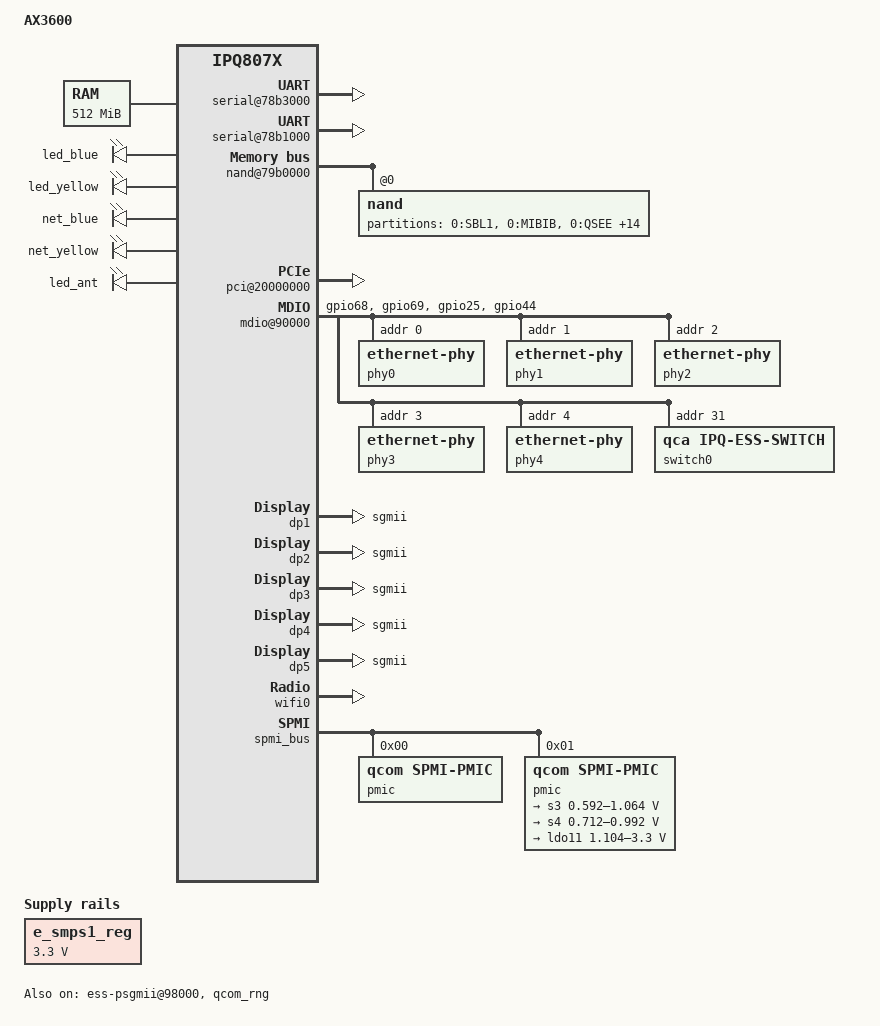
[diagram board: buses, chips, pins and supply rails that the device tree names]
// SPDX-License-Identifier: GPL-2.0-only
/dts-v1/;
/* Copyright (c) 2017, The Linux Foundation. All rights reserved.
 */
#include "ipq8074.dtsi"
#include <dt-bindings/iio/qcom,spmi-vadc.h>
#include <dt-bindings/spmi/spmi.h>

/ {
	#address-cells = <0x2>;
	#size-cells = <0x2>;
	model = "AX3600";
	compatible = "qcom,ipq807x-ac04", "qcom,ipq807x";
	interrupt-parent = <&intc>;

	firmware {
		scm {
			compatible = "qcom,scm-ipq8074", "qcom,scm";
		};
	};

	aliases {
		serial0 = &blsp1_uart5;
		serial1 = &blsp1_uart3;
	};

	chosen {
		stdout-path = "serial0";
	};

	memory {
		device_type = "memory";
		reg = <0x0 0x40000000 0x0 0x20000000>;
	};
	
	tcsr_mutex: hwlock {
		compatible = "qcom,tcsr-mutex";
		syscon = <&tcsr_mutex_regs 0 0x80>;
		#hwlock-cells = <1>;
	};

	tcsr_mutex: hwlock {
		compatible = "qcom,tcsr-mutex";
		syscon = <&tcsr_mutex_regs 0 0x80>;
		#hwlock-cells = <1>;
	};

	reserved-memory {
		#address-cells = <2>;
		#size-cells = <2>;
		ranges;
#if 0
		nss@40000000 {
			no-map;
			reg = <0x0 0x40000000 0x0 0x01000000>;
		};

		uboot@4a600000 {
			no-map;
			reg = <0x0 0x4a600000 0x0 0x00400000>;
		};

		sbl@4aa00000 {
			no-map;
			reg = <0x0 0x4aa00000 0x0 0x00100000>;
		};

		tz@4ac00000 {   /* TZ */
			no-map;
			reg = <0x0 0x4ac00000 0x0 0x00400000>;
		};
#endif
		smem_region:smem@4ab00000 {
			no-map;
			reg = <0x0 0x4ab00000 0x0 0x00100000>;
		};

		q6_region: wcnss@4b000000 {
			no-map;
			reg = <0x0 0x4b000000 0x0 0x05f00000>;
		};
#if 0
		q6_etr_region:q6_etr_dump@4e700000 {
			no-map;
			reg = <0x0 0x4e700000 0x0 0x100000>;
		};

		wifi_dump@50500000 {
			no-map;
			reg = <0x0 0x50500000 0x0 0x200000>;
		};
#endif
	};
        
	smem {
		compatible = "qcom,smem";
		memory-region = <&smem_region>;
		hwlocks = <&tcsr_mutex 0>;
	};

	soc {
		pinctrl@1000000 {
			led_pins: led_pins {
				pins = "gpio42", "gpio43", "gpio21",
				       "gpio22", "gpio51";
				function = "gpio";
				drive-strength = <8>;
				bias-pull-down;
			};
			mdio_pins: mdio_pinmux {
				mux_0 {
					pins = "gpio68";
					function = "mdc";
					drive-strength = <8>;
					bias-pull-up;
				};
				mux_1 {
					pins = "gpio69";
					function = "mdio";
					drive-strength = <8>;
					bias-pull-up;
				};
				mux_2 {
					pins = "gpio25";
					function = "gpio";
					bias-pull-up;
				};
				mux_3 {
					pins = "gpio44";
					function = "gpio";
					bias-pull-up;
				};
			};
			
			pcie_pins {
				pcie0_rst {
					pins = "gpio52";
					function = "pcie0_rst";
					drive-strength = <0x8>;
					bias-pull-down;
				};

				pcie0_wake {
					pins = "gpio59";
					function = "pcie0_wake";
					drive-strength = <0x8>;
					bias-pull-down;
				};
			};
		};


		serial@78b3000 {
			status = "ok";
		};

		serial@78b1000 {
			 status = "ok";
		};

		dma@7984000 {
			 status = "ok";
		};

		nand@79b0000 {
			status = "ok";

			nand@0 {
				reg = <0>;
				nand-ecc-strength = <4>;
				nand-ecc-step-size = <512>;
				nand-bus-width = <8>;
				
				partitions {
					compatible = "fixed-partitions";
					#address-cells = <1>;
					#size-cells = <1>;
					
					partition0@0 {
						label = "0:SBL1";
						reg = <0x0 0x100000>;
						read-only;
					};

					partition1@100000 {
						label = "0:MIBIB";
						reg = <0x100000 0x100000>;
						read-only;
					};

					partition2@200000 {
						label = "0:QSEE";
						reg = <0x200000 0x300000>;
						read-only;
					};

					partition3@500000 {
						label = "0:DEVCFG";
						reg = <0x500000 0x80000>;
						read-only;
					};


					partition4@580000 {
						label = "0:RPM";
						reg = <0x580000 0x80000>;
						read-only;
					};

					partition5@600000 {
						label = "0:CDT";
						reg = <0x600000 0x80000>;
						read-only;
					};


					partition6@680000 {
						label = "0:APPSBLENV";
						reg = <0x680000 0x80000>;
						read-only;
					};

					partition7@700000 {
						label = "0:APPSBL";
						reg = <0x700000 0x100000>;
						read-only;
					};

					partition8@800000 {
						label = "0:ART";
						reg = <0x800000 0x80000>;
						read-only;
					};

					partition9@880000 {
						label = "bdata";
						reg = <0x880000 0x80000>;
						read-only;
					};

					partition10@900000 {
						label = "crash";
						reg = <0x900000 0x80000>;
						read-only;
					};

					partition11@980000 {
						label = "crash_syslog";
						reg = <0x980000 0x80000>;
						read-only;
					};

					partition12@a00000 {
						label = "rootfs";
						reg = <0xa00000 0x23c0000>;
					};

					partition13@2dc0000 {
						label = "rootfs_1";
						reg = <0x2dc0000 0x8000000>;
					};


					partition14@adc0000 {
						label = "overlay";
						reg = <0xadc0000 0x1ec0000>;
					};

					partition15@cc80000 {
						label = "rsvd0";
						reg = <0xcc80000 0x80000>;
						read-only;
					};

					partition16@cd00000 {
						label = "0:WIFIFW";
						reg = <0xcd00000 0x900000>;
						read-only;
					};
				};
			};
		};

		phy@84000 {
			status = "ok";
		};

		pci@20000000 {
			status = "ok";
			perst-gpio = <&tlmm 52 0x1>;
		};

		mdio@90000 {
			pinctrl-0 = <&mdio_pins>;
			pinctrl-names = "default";
			phy-reset-gpio = <&tlmm 37 0>;
			#address-cells = <1>;
			#size-cells = <1>;
			compatible = "qcom,ipq40xx-mdio";
			reg = <0x90000 0x64>;

			phy0: ethernet-phy@0 {
				reg = <0>;
			};
			phy1: ethernet-phy@1 {
				reg = <1>;
			};
			phy2: ethernet-phy@2 {
				reg = <2>;
			};
			phy3: ethernet-phy@3 {
				reg = <3>;
			};
			phy4: ethernet-phy@4 {
				reg = <4>;
			};
			switch0@1f {
                compatible = "qca,ipq-ess-switch";
                reg = <0x1f>;
				switch = <&qcom_ess_switch>;
			};
		};

		qcom_ess_switch:ess-switch@3a000000 {
			compatible = "qcom,ess-switch-ipq807x";
			reg = <0x3a000000 0x80000>;
			switch_access_mode = "local bus";
			switch_cpu_bmp = <0x1>;  /* cpu port bitmap */
			switch_lan_bmp = <0x1e>; /* lan port bitmap */
			switch_wan_bmp = <0x20>; /* wan port bitmap */
			switch_mac_mode = <0x0>; /* mac mode for uniphy instance0*/
			switch_mac_mode1 = <0xff>; /* mac mode for uniphy instance1*/
			switch_mac_mode2 = <0xff>; /* mac mode for uniphy instance2*/
			bm_tick_mode = <0>; /* bm tick mode */
			tm_tick_mode = <0>; /* tm tick mode */

			clocks = <&gcc GCC_CMN_12GPLL_AHB_CLK>,
					<&gcc GCC_CMN_12GPLL_SYS_CLK>,
					<&gcc GCC_UNIPHY0_AHB_CLK>,
					<&gcc GCC_UNIPHY0_SYS_CLK>,
					<&gcc GCC_UNIPHY1_AHB_CLK>,
					<&gcc GCC_UNIPHY1_SYS_CLK>,
					<&gcc GCC_UNIPHY2_AHB_CLK>,
					<&gcc GCC_UNIPHY2_SYS_CLK>,
					<&gcc GCC_PORT1_MAC_CLK>,
					<&gcc GCC_PORT2_MAC_CLK>,
					<&gcc GCC_PORT3_MAC_CLK>,
					<&gcc GCC_PORT4_MAC_CLK>,
					<&gcc GCC_PORT5_MAC_CLK>,
					<&gcc GCC_PORT6_MAC_CLK>,
					<&gcc GCC_NSS_PPE_CLK>,
					<&gcc GCC_NSS_PPE_CFG_CLK>,
					<&gcc GCC_NSSNOC_PPE_CLK>,
					<&gcc GCC_NSSNOC_PPE_CFG_CLK>,
					<&gcc GCC_NSS_EDMA_CLK>,
					<&gcc GCC_NSS_EDMA_CFG_CLK>,
					<&gcc GCC_NSS_PPE_IPE_CLK>,
					<&gcc GCC_NSS_PPE_BTQ_CLK>,
					<&gcc GCC_MDIO_AHB_CLK>,
					<&gcc GCC_NSS_NOC_CLK>,
					<&gcc GCC_NSSNOC_SNOC_CLK>,
					<&gcc GCC_MEM_NOC_NSS_AXI_CLK>,
					<&gcc GCC_NSS_CRYPTO_CLK>,
					<&gcc GCC_NSS_IMEM_CLK>,
					<&gcc GCC_NSS_PTP_REF_CLK>,
					<&gcc GCC_NSS_PORT1_RX_CLK>,
					<&gcc GCC_NSS_PORT1_TX_CLK>,
					<&gcc GCC_NSS_PORT2_RX_CLK>,
					<&gcc GCC_NSS_PORT2_TX_CLK>,
					<&gcc GCC_NSS_PORT3_RX_CLK>,
					<&gcc GCC_NSS_PORT3_TX_CLK>,
					<&gcc GCC_NSS_PORT4_RX_CLK>,
					<&gcc GCC_NSS_PORT4_TX_CLK>,
					<&gcc GCC_NSS_PORT5_RX_CLK>,
					<&gcc GCC_NSS_PORT5_TX_CLK>,
					<&gcc GCC_NSS_PORT6_RX_CLK>,
					<&gcc GCC_NSS_PORT6_TX_CLK>,
					<&gcc GCC_UNIPHY0_PORT1_RX_CLK>,
					<&gcc GCC_UNIPHY0_PORT1_TX_CLK>,
					<&gcc GCC_UNIPHY0_PORT2_RX_CLK>,
					<&gcc GCC_UNIPHY0_PORT2_TX_CLK>,
					<&gcc GCC_UNIPHY0_PORT3_RX_CLK>,
					<&gcc GCC_UNIPHY0_PORT3_TX_CLK>,
					<&gcc GCC_UNIPHY0_PORT4_RX_CLK>,
					<&gcc GCC_UNIPHY0_PORT4_TX_CLK>,
					<&gcc GCC_UNIPHY0_PORT5_RX_CLK>,
					<&gcc GCC_UNIPHY0_PORT5_TX_CLK>,
					<&gcc GCC_UNIPHY1_PORT5_RX_CLK>,
					<&gcc GCC_UNIPHY1_PORT5_TX_CLK>,
					<&gcc GCC_UNIPHY2_PORT6_RX_CLK>,
					<&gcc GCC_UNIPHY2_PORT6_TX_CLK>,
					<&gcc NSS_PORT5_RX_CLK_SRC>,
					<&gcc NSS_PORT5_TX_CLK_SRC>;
			clock-names = "cmn_ahb_clk", "cmn_sys_clk",
					"uniphy0_ahb_clk", "uniphy0_sys_clk",
					"uniphy1_ahb_clk", "uniphy1_sys_clk",
					"uniphy2_ahb_clk", "uniphy2_sys_clk",
					"port1_mac_clk", "port2_mac_clk",
					"port3_mac_clk", "port4_mac_clk",
					"port5_mac_clk", "port6_mac_clk",
					"nss_ppe_clk", "nss_ppe_cfg_clk",
					"nssnoc_ppe_clk", "nssnoc_ppe_cfg_clk",
					"nss_edma_clk", "nss_edma_cfg_clk",
					"nss_ppe_ipe_clk", "nss_ppe_btq_clk",
					"gcc_mdio_ahb_clk", "gcc_nss_noc_clk",
					"gcc_nssnoc_snoc_clk",
					"gcc_mem_noc_nss_axi_clk",
					"gcc_nss_crypto_clk",
					"gcc_nss_imem_clk",
					"gcc_nss_ptp_ref_clk",
					"nss_port1_rx_clk", "nss_port1_tx_clk",
					"nss_port2_rx_clk", "nss_port2_tx_clk",
					"nss_port3_rx_clk", "nss_port3_tx_clk",
					"nss_port4_rx_clk", "nss_port4_tx_clk",
					"nss_port5_rx_clk", "nss_port5_tx_clk",
					"nss_port6_rx_clk", "nss_port6_tx_clk",
					"uniphy0_port1_rx_clk",
					"uniphy0_port1_tx_clk",
					"uniphy0_port2_rx_clk",
					"uniphy0_port2_tx_clk",
					"uniphy0_port3_rx_clk",
					"uniphy0_port3_tx_clk",
					"uniphy0_port4_rx_clk",
					"uniphy0_port4_tx_clk",
					"uniphy0_port5_rx_clk",
					"uniphy0_port5_tx_clk",
					"uniphy1_port5_rx_clk",
					"uniphy1_port5_tx_clk",
					"uniphy2_port6_rx_clk",
					"uniphy2_port6_tx_clk",
					"nss_port5_rx_clk_src",
					"nss_port5_tx_clk_src";

			resets = <&gcc GCC_PPE_FULL_RESET>, <&gcc GCC_PPE_FULL_RESET>,
				 <&gcc GCC_UNIPHY0_SOFT_RESET>,
				 <&gcc GCC_UNIPHY0_XPCS_RESET>,
				 <&gcc GCC_UNIPHY1_SOFT_RESET>,
				 <&gcc GCC_UNIPHY1_XPCS_RESET>,
				 <&gcc GCC_UNIPHY2_SOFT_RESET>,
				 <&gcc GCC_UNIPHY2_XPCS_RESET>,
				 <&gcc GCC_NSSPORT1_RESET>,
				 <&gcc GCC_NSSPORT2_RESET>,
				 <&gcc GCC_NSSPORT3_RESET>,
				 <&gcc GCC_NSSPORT4_RESET>,
				 <&gcc GCC_NSSPORT5_RESET>,
				 <&gcc GCC_NSSPORT6_RESET>;

			reset-names = "ess_rst", "ppe_rst", "uniphy0_soft_rst",
					"uniphy0_xpcs_rst", "uniphy1_soft_rst",
					"uniphy1_xpcs_rst", "uniphy2_soft_rst",
					"uniphy2_xpcs_rst", "nss_port1_rst",
					"nss_port2_rst", "nss_port3_rst",
					"nss_port4_rst", "nss_port5_rst",
					"nss_port6_rst";

			qcom,port_phyinfo {
				port@0 {
					port_id = <1>;
					phy_address = <0>;
				};
				port@1 {
					port_id = <2>;
					phy_address = <1>;
				};
				port@2 {
					port_id = <3>;
					phy_address = <2>;
				};
				port@3 {
					port_id = <4>;
					phy_address = <3>;
				};
				port@4 {
					port_id = <5>;
					phy_address = <4>;
				};
			};

			port_scheduler_resource {
				port@0 {
					port_id = <0>;
					ucast_queue = <0 143>;
					mcast_queue = <256 271>;
					l0sp = <0 35>;
					l0cdrr = <0 47>;
					l0edrr = <0 47>;
					l1cdrr = <0 7>;
					l1edrr = <0 7>;
				};
				port@1 {
					port_id = <1>;
					ucast_queue = <144 159>;
					mcast_queue = <272 275>;
					l0sp = <36 39>;
					l0cdrr = <48 63>;
					l0edrr = <48 63>;
					l1cdrr = <8 11>;
					l1edrr = <8 11>;
				};
				port@2 {
					port_id = <2>;
					ucast_queue = <160 175>;
					mcast_queue = <276 279>;
					l0sp = <40 43>;
					l0cdrr = <64 79>;
					l0edrr = <64 79>;
					l1cdrr = <12 15>;
					l1edrr = <12 15>;
				};
				port@3 {
					port_id = <3>;
					ucast_queue = <176 191>;
					mcast_queue = <280 283>;
					l0sp = <44 47>;
					l0cdrr = <80 95>;
					l0edrr = <80 95>;
					l1cdrr = <16 19>;
					l1edrr = <16 19>;
				};
				port@4 {
					port_id = <4>;
					ucast_queue = <192 207>;
					mcast_queue = <284 287>;
					l0sp = <48 51>;
					l0cdrr = <96 111>;
					l0edrr = <96 111>;
					l1cdrr = <20 23>;
					l1edrr = <20 23>;
				};
				port@5 {
					port_id = <5>;
					ucast_queue = <208 223>;
					mcast_queue = <288 291>;
					l0sp = <52 55>;
					l0cdrr = <112 127>;
					l0edrr = <112 127>;
					l1cdrr = <24 27>;
					l1edrr = <24 27>;
				};
				port@6 {
					port_id = <6>;
					ucast_queue = <224 239>;
					mcast_queue = <292 295>;
					l0sp = <56 59>;
					l0cdrr = <128 143>;
					l0edrr = <128 143>;
					l1cdrr = <28 31>;
					l1edrr = <28 31>;
				};
				port@7 {
					port_id = <7>;
					ucast_queue = <240 255>;
					mcast_queue = <296 299>;
					l0sp = <60 63>;
					l0cdrr = <144 159>;
					l0edrr = <144 159>;
					l1cdrr = <32 35>;
					l1edrr = <32 35>;
				};
			};

			port_scheduler_config {
				port@0 {
					port_id = <0>;
					l1scheduler {
						group@0 {
							sp = <0 1>; /*L0 SPs*/
							/*cpri cdrr epri edrr*/
							cfg = <0 0 0 0>;
						};
					};
					l0scheduler {
						group@0 {
							/*unicast queues*/
							ucast_queue = <0 4 8>;
							/*multicast queues*/
							mcast_queue = <256 260>;
							/*sp cpri cdrr epri edrr*/
							cfg = <0 0 0 0 0>;
						};
						group@1 {
							ucast_queue = <1 5 9>;
							mcast_queue = <257 261>;
							cfg = <0 1 1 1 1>;
						};
						group@2 {
							ucast_queue = <2 6 10>;
							mcast_queue = <258 262>;
							cfg = <0 2 2 2 2>;
						};
						group@3 {
							ucast_queue = <3 7 11>;
							mcast_queue = <259 263>;
							cfg = <0 3 3 3 3>;
						};
					};
				};
				port@1 {
					port_id = <1>;
					l1scheduler {
						group@0 {
							sp = <36>;
							cfg = <0 8 0 8>;
						};
						group@1 {
							sp = <37>;
							cfg = <1 9 1 9>;
						};
					};
					l0scheduler {
						group@0 {
							ucast_queue = <144>;
							ucast_loop_pri = <16>;
							mcast_queue = <272>;
							mcast_loop_pri = <4>;
							cfg = <36 0 48 0 48>;
						};
					};
				};
				port@2 {
					port_id = <2>;
					l1scheduler {
						group@0 {
							sp = <40>;
							cfg = <0 12 0 12>;
						};
						group@1 {
							sp = <41>;
							cfg = <1 13 1 13>;
						};
					};
					l0scheduler {
						group@0 {
							ucast_queue = <160>;
							ucast_loop_pri = <16>;
							mcast_queue = <276>;
							mcast_loop_pri = <4>;
							cfg = <40 0 64 0 64>;
						};
					};
				};
				port@3 {
					port_id = <3>;
					l1scheduler {
						group@0 {
							sp = <44>;
							cfg = <0 16 0 16>;
						};
						group@1 {
							sp = <45>;
							cfg = <1 17 1 17>;
						};
					};
					l0scheduler {
						group@0 {
							ucast_queue = <176>;
							ucast_loop_pri = <16>;
							mcast_queue = <280>;
							mcast_loop_pri = <4>;
							cfg = <44 0 80 0 80>;
						};
					};
				};
				port@4 {
					port_id = <4>;
					l1scheduler {
						group@0 {
							sp = <48>;
							cfg = <0 20 0 20>;
						};
						group@1 {
							sp = <49>;
							cfg = <1 21 1 21>;
						};
					};
					l0scheduler {
						group@0 {
							ucast_queue = <192>;
							ucast_loop_pri = <16>;
							mcast_queue = <284>;
							mcast_loop_pri = <4>;
							cfg = <48 0 96 0 96>;
						};
					};
				};
				port@5 {
					port_id = <5>;
					l1scheduler {
						group@0 {
							sp = <52>;
							cfg = <0 24 0 24>;
						};
						group@1 {
							sp = <53>;
							cfg = <1 25 1 25>;
						};
					};
					l0scheduler {
						group@0 {
							ucast_queue = <208>;
							ucast_loop_pri = <16>;
							mcast_queue = <288>;
							mcast_loop_pri = <4>;
							cfg = <52 0 112 0 112>;
						};
					};
				};
				port@6 {
					port_id = <6>;
					l1scheduler {
						group@0 {
							sp = <56>;
							cfg = <0 28 0 28>;
						};
						group@1 {
							sp = <57>;
							cfg = <1 29 1 29>;
						};
					};
					l0scheduler {
						group@0 {
							ucast_queue = <224>;
							ucast_loop_pri = <16>;
							mcast_queue = <292>;
							mcast_loop_pri = <4>;
							cfg = <56 0 128 0 128>;
						};
					};
				};
				port@7 {
					port_id = <7>;
					l1scheduler {
						group@0 {
							sp = <60>;
							cfg = <0 32 0 32>;
						};
					};
					l0scheduler {
						group@0 {
							ucast_queue = <240>;
							mcast_queue = <296>;
							cfg = <60 0 144 0 144>;
						};
					};
				};
			};
		};
		ess-psgmii@98000 {
			compatible = "qcom,ess-psgmii";
			reg = <0x3a001000 0x800>;
			psgmii_access_mode = "local bus";
			status = "ok";
		};

		ess-uniphy@7a00000 {
			compatible = "qcom,ess-uniphy";
			reg = <0x7a00000 0x30000>;
			uniphy_access_mode = "local bus";
		};

		edma@3ab00000 {
			compatible = "qcom,edma";
			reg = <0x3ab00000 0x76900>;
			reg-names = "edma-reg-base";
			qcom,txdesc-ring-start = <23>;
			qcom,txdesc-rings = <1>;
			qcom,txcmpl-ring-start = <7>;
			qcom,txcmpl-rings = <1>;
			qcom,rxfill-ring-start = <7>;
			qcom,rxfill-rings = <1>;
			qcom,rxdesc-ring-start = <15>;
			qcom,rxdesc-rings = <1>;
			interrupts = <0 345 4>,
					<0 353 4>,
					<0 361 4>,
					<0 344 4>;
			resets = <&gcc GCC_EDMA_HW_RESET>;
			reset-names = "edma_rst";
			clocks = <&gcc GCC_CMN_12GPLL_AHB_CLK>,
					<&gcc GCC_CMN_12GPLL_SYS_CLK>,
					<&gcc GCC_UNIPHY0_AHB_CLK>,
					<&gcc GCC_UNIPHY0_SYS_CLK>,
					<&gcc GCC_UNIPHY1_AHB_CLK>,
					<&gcc GCC_UNIPHY1_SYS_CLK>,
					<&gcc GCC_UNIPHY2_AHB_CLK>,
					<&gcc GCC_UNIPHY2_SYS_CLK>,
					<&gcc GCC_PORT1_MAC_CLK>,
					<&gcc GCC_PORT2_MAC_CLK>,
					<&gcc GCC_PORT3_MAC_CLK>,
					<&gcc GCC_PORT4_MAC_CLK>,
					<&gcc GCC_PORT5_MAC_CLK>,
					<&gcc GCC_PORT6_MAC_CLK>,
					<&gcc GCC_NSS_PPE_CLK>,
					<&gcc GCC_NSS_PPE_CFG_CLK>,
					<&gcc GCC_NSSNOC_PPE_CLK>,
					<&gcc GCC_NSSNOC_PPE_CFG_CLK>,
					<&gcc GCC_NSS_EDMA_CLK>,
					<&gcc GCC_NSS_EDMA_CFG_CLK>,
					<&gcc GCC_NSS_PPE_IPE_CLK>,
					<&gcc GCC_NSS_PPE_BTQ_CLK>,
					<&gcc GCC_MDIO_AHB_CLK>,
					<&gcc GCC_NSS_NOC_CLK>,
					<&gcc GCC_NSSNOC_SNOC_CLK>,
					<&gcc GCC_MEM_NOC_NSS_AXI_CLK>,
					<&gcc GCC_NSS_CRYPTO_CLK>,
					<&gcc GCC_NSS_IMEM_CLK>,
					<&gcc GCC_NSS_PTP_REF_CLK>,
					<&gcc GCC_NSS_PORT1_RX_CLK>,
					<&gcc GCC_NSS_PORT1_TX_CLK>,
					<&gcc GCC_NSS_PORT2_RX_CLK>,
					<&gcc GCC_NSS_PORT2_TX_CLK>,
					<&gcc GCC_NSS_PORT3_RX_CLK>,
					<&gcc GCC_NSS_PORT3_TX_CLK>,
					<&gcc GCC_NSS_PORT4_RX_CLK>,
					<&gcc GCC_NSS_PORT4_TX_CLK>,
					<&gcc GCC_NSS_PORT5_RX_CLK>,
					<&gcc GCC_NSS_PORT5_TX_CLK>,
					<&gcc GCC_NSS_PORT6_RX_CLK>,
					<&gcc GCC_NSS_PORT6_TX_CLK>,
					<&gcc GCC_UNIPHY0_PORT1_RX_CLK>,
					<&gcc GCC_UNIPHY0_PORT1_TX_CLK>,
					<&gcc GCC_UNIPHY0_PORT2_RX_CLK>,
					<&gcc GCC_UNIPHY0_PORT2_TX_CLK>,
					<&gcc GCC_UNIPHY0_PORT3_RX_CLK>,
					<&gcc GCC_UNIPHY0_PORT3_TX_CLK>,
					<&gcc GCC_UNIPHY0_PORT4_RX_CLK>,
					<&gcc GCC_UNIPHY0_PORT4_TX_CLK>,
					<&gcc GCC_UNIPHY0_PORT5_RX_CLK>,
					<&gcc GCC_UNIPHY0_PORT5_TX_CLK>,
					<&gcc GCC_UNIPHY1_PORT5_RX_CLK>,
					<&gcc GCC_UNIPHY1_PORT5_TX_CLK>,
					<&gcc GCC_UNIPHY2_PORT6_RX_CLK>,
					<&gcc GCC_UNIPHY2_PORT6_TX_CLK>,
					<&gcc NSS_PORT5_RX_CLK_SRC>,
					<&gcc NSS_PORT5_TX_CLK_SRC>;
			clock-names = "cmn_ahb_clk", "cmn_sys_clk",
					"uniphy0_ahb_clk", "uniphy0_sys_clk",
					"uniphy1_ahb_clk", "uniphy1_sys_clk",
					"uniphy2_ahb_clk", "uniphy2_sys_clk",
					"port1_mac_clk", "port2_mac_clk",
					"port3_mac_clk", "port4_mac_clk",
					"port5_mac_clk", "port6_mac_clk",
					"nss_ppe_clk", "nss_ppe_cfg_clk",
					"nssnoc_ppe_clk", "nssnoc_ppe_cfg_clk",
					"nss_edma_clk", "nss_edma_cfg_clk",
					"nss_ppe_ipe_clk", "nss_ppe_btq_clk",
					"gcc_mdio_ahb_clk", "gcc_nss_noc_clk",
					"gcc_nssnoc_snoc_clk",
					"gcc_mem_noc_nss_axi_clk",
					"gcc_nss_crypto_clk",
					"gcc_nss_imem_clk",
					"gcc_nss_ptp_ref_clk",
					"nss_port1_rx_clk", "nss_port1_tx_clk",
					"nss_port2_rx_clk", "nss_port2_tx_clk",
					"nss_port3_rx_clk", "nss_port3_tx_clk",
					"nss_port4_rx_clk", "nss_port4_tx_clk",
					"nss_port5_rx_clk", "nss_port5_tx_clk",
					"nss_port6_rx_clk", "nss_port6_tx_clk",
					"uniphy0_port1_rx_clk",
					"uniphy0_port1_tx_clk",
					"uniphy0_port2_rx_clk",
					"uniphy0_port2_tx_clk",
					"uniphy0_port3_rx_clk",
					"uniphy0_port3_tx_clk",
					"uniphy0_port4_rx_clk",
					"uniphy0_port4_tx_clk",
					"uniphy0_port5_rx_clk",
					"uniphy0_port5_tx_clk",
					"uniphy1_port5_rx_clk",
					"uniphy1_port5_tx_clk",
					"uniphy2_port6_rx_clk",
					"uniphy2_port6_tx_clk",
					"nss_port5_rx_clk_src",
					"nss_port5_tx_clk_src";
		};

		dp1 {
			device_type = "network";
			compatible = "qcom,nss-dp";
			qcom,id = <1>;
			reg = <0x3a001000 0x200>;
			qcom,mactype = <0>;
			local-mac-address = [000000000000];
			//qcom,link-poll = <1>;
			qcom,phy-mdio-addr = <0>;
			phy-mode = "sgmii";
		};

		dp2 {
			device_type = "network";
			compatible = "qcom,nss-dp";
			qcom,id = <2>;
			reg = <0x3a001200 0x200>;
			qcom,mactype = <0>;
			local-mac-address = [000000000000];
			qcom,link-poll = <1>;
			qcom,phy-mdio-addr = <1>;
			phy-mode = "sgmii";
		};

		dp3 {
			device_type = "network";
			compatible = "qcom,nss-dp";
			qcom,id = <3>;
			reg = <0x3a001400 0x200>;
			qcom,mactype = <0>;
			local-mac-address = [000000000000];
			qcom,link-poll = <1>;
			qcom,phy-mdio-addr = <2>;
			phy-mode = "sgmii";
		};

		dp4 {
			device_type = "network";
			compatible = "qcom,nss-dp";
			qcom,id = <4>;
			reg = <0x3a001600 0x200>;
			qcom,mactype = <0>;
			local-mac-address = [000000000000];
			qcom,link-poll = <1>;
			qcom,phy-mdio-addr = <3>;
			phy-mode = "sgmii";
		};

		dp5 {
			device_type = "network";
			compatible = "qcom,nss-dp";
			qcom,id = <5>;
			reg = <0x3a001800 0x200>;
			qcom,mactype = <0>;
			local-mac-address = [000000000000];
			qcom,link-poll = <1>;
			qcom,phy-mdio-addr = <4>;
			phy-mode = "sgmii";
		};

		q6v5_wcss: q6v5_wcss@CD00000 {
                        compatible = "qcom,ipq8074-wcss-pil";
                        reg = <0xCD00000 0x4040>,
                                <0x4ab000 0x20>;
                        reg-names = "qdsp6",
                                "rmb";
                        qca,auto-restart;
                        qca,extended-intc;
                        interrupts-extended = <&intc 0 325 1>,
                                        <&wcss_smp2p_in 0 0>,
                                        <&wcss_smp2p_in 1 0>,
                                        <&wcss_smp2p_in 2 0>,
                                        <&wcss_smp2p_in 3 0>;
                        interrupt-names = "wdog",
                                        "fatal",
                                        "ready",
                                        "handover",
                                        "stop-ack";

                        resets = <&gcc GCC_WCSSAON_RESET>,
                                <&gcc GCC_WCSS_BCR>,
                                <&gcc GCC_WCSS_Q6_BCR>;

                        reset-names = "wcss_aon_reset",
                                "wcss_reset",
                                "wcss_q6_reset";

			clocks = <&gcc GCC_PRNG_AHB_CLK>;
			clock-names = "prng";

                        qcom,halt-regs = <&tcsr_q6_block 0xA000 0xD000 0x0>;

                        qcom,smem-states = <&wcss_smp2p_out 0>,
                                        <&wcss_smp2p_out 1>;
                        qcom,smem-state-names = "shutdown",
                                                "stop";

                        memory-region = <&q6_region>;

			glink-edge {
				interrupts = <GIC_SPI 321 IRQ_TYPE_EDGE_RISING>;
				qcom,remote-pid = <1>;
				mboxes = <&apcs_glb 8>;

				qrtr_requests {
					qcom,glink-channels = "IPCRTR";
				};
			};
		};

		qcom_rng: qrng@e1000 {
			compatible = "qcom,prng-ipq807x";
			reg = <0xe3000 0x1000>;
			clocks = <&gcc GCC_PRNG_AHB_CLK>;
			clock-names = "core";
			status = "ok";
		};

		apcs: syscon@b111000 {
			compatible = "syscon";
			reg = <0x0B111000 0x1000>;
		};

		tcsr_q6_block: syscon@1945000 {
			compatible = "syscon";
			reg = <0x1945000 0xE000>;
		};

		tcsr_q6: syscon@1945000 {
			compatible = "syscon";
			reg = <0x01945000 0xe000>;
		};

		tcsr_mutex_regs: syscon@193d000 {
			compatible = "syscon";
			reg = <0x01905000 0x8000>;
		};

		apcs_glb: mailbox@b111000 {
			compatible = "qcom,ipq8074-apcs-apps-global";
			reg = <0x0b111000 0x1000>;

			#mbox-cells = <1>;
		};

		wifi0: wifi@c000000 {
			compatible = "qcom,ipq8074-wifi";
			reg = <0xc000000 0x2000000>;
			interrupts = <0 320 1>,
                     <0 319 1>,
                     <0 318 1>,
                     <0 317 1>,
                     <0 316 1>,
                     <0 315 1>,
                     <0 314 1>,
                     <0 311 1>,
                     <0 310 1>,
                     <0 411 1>,
                     <0 410 1>,
                     <0 40 1>,
                     <0 39 1>,
                     <0 302 1>,
                     <0 301 1>,
                     <0 37 1>,
                     <0 36 1>,
                     <0 296 1>,
                     <0 295 1>,
                     <0 294 1>,
                     <0 293 1>,
                     <0 292 1>,
                     <0 291 1>,
                     <0 290 1>,
                     <0 289 1>,
                     <0 288 1>,
                     <0 239 1>,
                     <0 236 1>,
                     <0 235 1>,
                     <0 234 1>,
                     <0 233 1>,
                     <0 232 1>,
                     <0 231 1>,
                     <0 230 1>,
                     <0 229 1>,
                     <0 228 1>,
                     <0 224 1>,
                     <0 223 1>,
                     <0 203 1>,
                     <0 183 1>,
                     <0 180 1>,
                     <0 179 1>,
                     <0 178 1>,
                     <0 177 1>,
                     <0 176 1>,
                     <0 163 1>,
                     <0 162 1>,
                     <0 160 1>,
                     <0 159 1>,
                     <0 158 1>,
                     <0 157 1>,
                     <0 156 1>;
			interrupt-names = "misc-pulse1",
                          "misc-latch",
                          "sw-exception",
                          "watchdog",
                          "ce0",
                          "ce1",
                          "ce2",
                          "ce3",
                          "ce4",
                          "ce5",
                          "ce6",
                          "ce7",
                          "ce8",
                          "ce9",
                          "ce10",
                          "ce11",
                          "host2wbm-desc-feed",
                          "host2reo-re-injection",
                          "host2reo-command",
                          "host2rxdma-monitor-ring3",
                          "host2rxdma-monitor-ring2",
                          "host2rxdma-monitor-ring1",
                          "reo2ost-exception",
                          "wbm2host-rx-release",
                          "reo2host-status",
                          "reo2host-destination-ring4",
                          "reo2host-destination-ring3",
                          "reo2host-destination-ring2",
                          "reo2host-destination-ring1",
                          "rxdma2host-monitor-destination-mac3",
                          "rxdma2host-monitor-destination-mac2",
                          "rxdma2host-monitor-destination-mac1",
                          "ppdu-end-interrupts-mac3",
                          "ppdu-end-interrupts-mac2",
                          "ppdu-end-interrupts-mac1",
                          "rxdma2host-monitor-status-ring-mac3",
                          "rxdma2host-monitor-status-ring-mac2",
                          "rxdma2host-monitor-status-ring-mac1",
                          "host2rxdma-host-buf-ring-mac3",
                          "host2rxdma-host-buf-ring-mac2",
                          "host2rxdma-host-buf-ring-mac1",
                          "rxdma2host-destination-ring-mac3",
                          "rxdma2host-destination-ring-mac2",
                          "rxdma2host-destination-ring-mac1",
                          "host2tcl-input-ring4",
                          "host2tcl-input-ring3",
                          "host2tcl-input-ring2",
                          "host2tcl-input-ring1",
                          "wbm2host-tx-completions-ring3",
                          "wbm2host-tx-completions-ring2",
                          "wbm2host-tx-completions-ring1",
                          "tcl2host-status-ring";
			clocks = <&gcc GCC_NSSNOC_CRYPTO_CLK>, <&gcc UBI32_PLL_MAIN>, <&gcc NSS_UBI1_CLK_SRC>,
					<&gcc GCC_UBI1_CORE_CLK>,
					<&gcc GCC_UBI0_CORE_CLK>,

					<&gcc GCC_UBI1_MPT_CLK>,
					<&gcc GCC_UBI0_MPT_CLK>,

					<&gcc GCC_UBI1_AHB_CLK>,
					<&gcc GCC_UBI0_AHB_CLK>,
					<&gcc GCC_NSSNOC_UBI1_AHB_CLK>,
					<&gcc GCC_NSSNOC_UBI0_AHB_CLK>,
					<&gcc GCC_NSSNOC_CE_AXI_CLK>,
					<&gcc GCC_NSSNOC_CE_APB_CLK>,
					<&gcc GCC_NSS_CSR_CLK>,
					<&gcc GCC_NSS_CE_AXI_CLK>,
					<&gcc GCC_NSS_CE_APB_CLK>,

					<&gcc GCC_UBI1_NC_AXI_CLK>,
					<&gcc GCC_UBI0_NC_AXI_CLK>,
					<&gcc GCC_UBI1_AXI_CLK>,
					<&gcc GCC_UBI0_AXI_CLK>,
					<&gcc GCC_NSS_NOC_CLK>,

					<&gcc GCC_NSSNOC_QOSGEN_REF_CLK>,
					<&gcc GCC_NSSNOC_TIMEOUT_REF_CLK>,

					<&gcc GCC_SNOC_BUS_TIMEOUT2_AHB_CLK>,

					<&gcc GCC_PCIE0_RCHNG_CLK>,

					<&gcc GCC_PCIE0_AXI_S_BRIDGE_CLK>,
					<&gcc GCC_SYS_NOC_PCIE0_AXI_CLK>,
					<&gcc GCC_PCIE0_AXI_S_CLK>,
					<&gcc GCC_PCIE0_AXI_M_CLK>,

					<&gcc GCC_PCIE1_PIPE_CLK>,
					<&gcc GCC_USB0_PIPE_CLK>,
					<&gcc GCC_USB1_PIPE_CLK>;

			clock-names = "gcc_nssnoc_crypto_clk", "ubi32_pll_main", "nss_ubi1_clk_src",
						"gcc_ubi1_core_clk",
						"gcc_ubi0_core_clk",

						"gcc_ubi1_mpt_clk",
						"gcc_ubi0_mpt_clk",

						"gcc_ubi1_ahb_clk",
						"gcc_ubi0_ahb_clk",
						"gcc_nssnoc_ubi1_ahb_clk",
						"gcc_nssnoc_ubi0_ahb_clk",
						"gcc_nssnoc_ce_axi_clk",
						"gcc_nssnoc_ce_apb_clk",
						"gcc_nss_csr_clk",
						"gcc_nss_ce_axi_clk",
						"gcc_nss_ce_apb_clk",

						"gcc_ubi1_nc_axi_clk",
						"gcc_ubi0_nc_axi_clk",
						"gcc_ubi1_axi_clk",
						"gcc_ubi0_axi_clk",
						"gcc_nss_noc_clk",


						"gcc_nssnoc_qosgen_ref_clk",
						"gcc_nssnoc_timeout_ref_clk",

						"gcc_snoc_bus_timeout2_ahb_clk",

						"gcc_pcie0_rchng_clk",

						"gcc_pcie0_axi_s_bridge_clk",
						"gcc_sys_noc_pcie0_axi_clk",
						"gcc_pcie0_axi_s_clk",
						"gcc_pcie0_axi_m_clk",

						"gcc_pcie1_pipe_clk",

						"gcc_usb0_pipe_clk",
						"gcc_usb1_pipe_clk";

			qcom,rproc = <&q6v5_wcss>;
		};

		e_smps1_reg: fixed-regulator@0 {
			compatible = "regulator-fixed";
			regulator-name = "e-smps1-reg";
			regulator-min-microvolt = <3300000>;
			regulator-max-microvolt = <3300000>;
			regulator-always-on;
			regulator-boot-on;
		};

		spmi_bus: qcom,spmi@200f000 {
			compatible = "qcom,spmi-pmic-arb";
			reg = <0x200f000 0x1000>,
				<0x2400000 0x800000>,
				<0x2c00000 0x800000>,
				<0x3800000 0x200000>,
				<0x200a000 0x000700>;
			reg-names = "core", "chnls", "obsrvr", "intr", "cnfg";
			interrupt-names = "periph_irq";
			interrupts = <GIC_SPI 190 IRQ_TYPE_NONE>;
			qcom,ee = <0>;
			qcom,channel = <0>;
			#address-cells = <2>;
			#size-cells = <0>;
			interrupt-controller;
			#interrupt-cells = <4>;
			cell-index = <0>;

			pmic@0 {
				compatible ="qcom,spmi-pmic";
				reg = <0x0 SPMI_USID>;
				#address-cells = <1>;
				#size-cells = <0>;

				pmp8074_vadc: vadc@3100 {
					compatible = "qcom,pmp8074-spmi-vadc";
					reg = <0x3100 0x100>;
					interrupts = <0x0 0x31 0x0 IRQ_TYPE_EDGE_RISING>;
					#address-cells = <1>;
					#size-cells = <0>;
					#io-channel-cells = <1>;

					pa_therm1 {
						reg = <VADC_PMP8074_AMUX_THM1>;
						qcom,vadc-thermal-node;
					};
					pa_therm2 {
						reg = <VADC_PMP8074_AMUX_THM2>;
						qcom,vadc-thermal-node;
					};
					pa_therm3 {
						reg = <VADC_PMP8074_AMUX_THM3>;
						qcom,vadc-thermal-node;
					};
					die_temp {
						reg = <VADC_PMP8074_DIE_TEMP>;
					};
				};
			};

			pmic@1 {
				compatible ="qcom,spmi-pmic";
				reg = <0x1 SPMI_USID>;
				#address-cells = <1>;
				#size-cells = <0>;

				regulators {
					compatible = "qcom,pmd9655-regulators";
					vdd_s3-supply = <&e_smps1_reg>;
					vdd_s4-supply = <&e_smps1_reg>;
					vdd_ldo11-supply = <&e_smps1_reg>;

					s3: s3 {
						regulator-name = "pmd9655_s3";
						regulator-min-microvolt = <592000>;
						regulator-max-microvolt = <1064000>;
						regulator-always-on;
						regulator-boot-on;
					};

					s4: s4 {
						regulator-name = "pmd9655_s4";
						regulator-min-microvolt = <712000>;
						regulator-max-microvolt = <992000>;
						regulator-always-on;
						regulator-boot-on;
					};

					ldo11: ldo11 {
						regulator-name = "pmd9655_ldo11";
						regulator-min-microvolt = <1104000>;
						regulator-max-microvolt = <3300000>;
						regulator-always-on;
						regulator-boot-on;
					};
				};
			};
		};

	};

	wcss: smp2p-wcss {
		compatible = "qcom,smp2p";
		qcom,smem = <435>, <428>;

		interrupt-parent = <&intc>;
		interrupts = <GIC_SPI 322 IRQ_TYPE_EDGE_RISING>;

		mboxes = <&apcs_glb 9>;

		qcom,local-pid = <0>;
		qcom,remote-pid = <1>;

		wcss_smp2p_out: master-kernel {
			qcom,entry-name = "master-kernel";
			#qcom,smem-state-cells = <1>;
		};

		wcss_smp2p_in: slave-kernel {
			qcom,entry-name = "slave-kernel";
			interrupt-controller;
			#interrupt-cells = <2>;
		};
	};
	
	leds {
		compatible = "gpio-leds";
		pinctrl-0 = <&led_pins>;
		pinctrl-names = "default";

		led_sys_blue {
			label = "led_blue";
			gpio = <&tlmm 42 0x0>;
			default-state = "off";
		};

		led_sys_yellow {
			label = "led_yellow";
			gpio = <&tlmm 43 0x0>;
			default-state = "on";
		};

		led_net_blue {
			label = "net_blue";
			gpio = <&tlmm 21 0x0>;
			default-state = "off";
			};

		led_net_yellow {
			label = "net_yellow";
			gpio = <&tlmm 22 0x0>;
			default-state = "off";
		};

		led_ant {
			label = "led_ant";
			gpio = <&tlmm 51 0x0>;
			default-state = "off";
		};
	};
};
